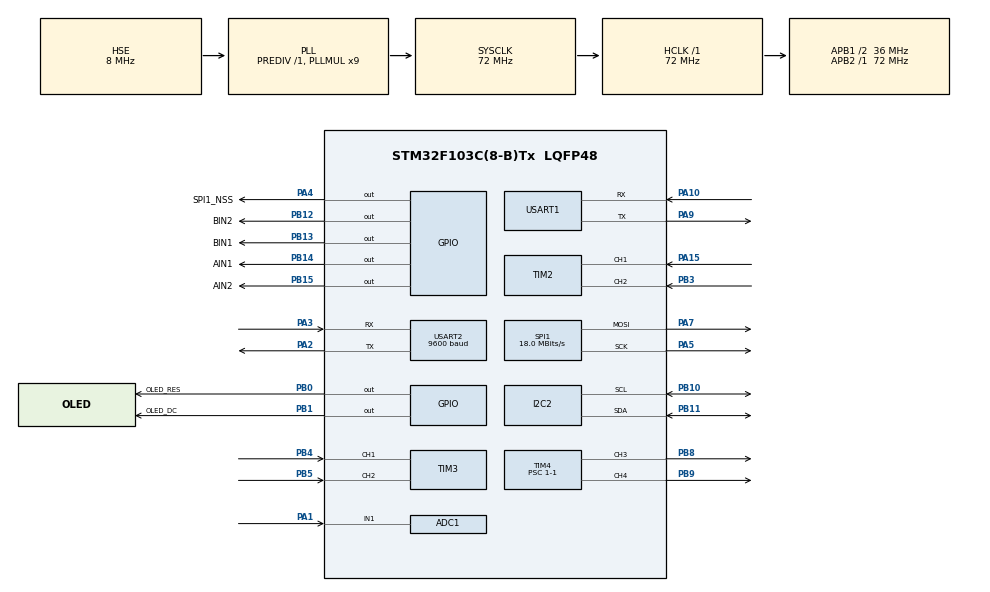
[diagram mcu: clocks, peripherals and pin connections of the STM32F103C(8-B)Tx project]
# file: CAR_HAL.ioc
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ADC1.Channel-0\#ChannelRegularConversion=ADC_CHANNEL_1
ADC1.NbrOfConversion=1
ADC1.NbrOfConversionFlag=1
ADC1.Rank-0\#ChannelRegularConversion=1
ADC1.SamplingTime-0\#ChannelRegularConversion=ADC_SAMPLETIME_239CYCLES_5
ADC1.master=1
I2C2.I2C_Mode=I2C_Fast
Mcu.Family=STM32F1
Mcu.Name=STM32F103C(8-B)Tx
Mcu.Package=LQFP48
NVIC.PriorityGroup=NVIC_PRIORITYGROUP_4
NVIC.TIM1_UP_IRQn=true\:0\:0\:true\:false\:true\:false\:true\:true
NVIC.TimeBase=TIM1_UP_IRQn
NVIC.TimeBaseIP=TIM1
NVIC.USART1_IRQn=true\:5\:0\:true\:false\:true\:true\:true\:true
NVIC.USART2_IRQn=true\:5\:0\:true\:false\:true\:true\:true\:true
PA1.Signal=ADCx_IN1
PA10.Mode=Asynchronous
PA10.Signal=USART1_RX
PA13.Mode=Serial_Wire
PA13.Signal=SYS_JTMS-SWDIO
PA14.Mode=Serial_Wire
PA14.Signal=SYS_JTCK-SWCLK
PA15.Signal=S_TIM2_CH1_ETR
PA2.Mode=Asynchronous
PA2.Signal=USART2_TX
PA3.Mode=Asynchronous
PA3.Signal=USART2_RX
PA4.GPIO_Label=SPI1_NSS
PA4.GPIO_Speed=GPIO_SPEED_FREQ_HIGH
PA4.PinState=GPIO_PIN_SET
PA4.Signal=GPIO_Output
PA5.Mode=TX_Only_Simplex_Unidirect_Master
PA5.Signal=SPI1_SCK
PA7.Mode=TX_Only_Simplex_Unidirect_Master
PA7.Signal=SPI1_MOSI
PA9.Mode=Asynchronous
PA9.Signal=USART1_TX
PB0.GPIO_Label=OLED_RES
PB0.GPIO_Speed=GPIO_SPEED_FREQ_HIGH
PB0.PinState=GPIO_PIN_SET
PB0.Signal=GPIO_Output
PB1.GPIO_Label=OLED_DC
PB1.GPIO_Speed=GPIO_SPEED_FREQ_HIGH
PB1.PinState=GPIO_PIN_SET
PB1.Signal=GPIO_Output
PB10.Mode=I2C
PB10.Signal=I2C2_SCL
PB11.Mode=I2C
PB11.Signal=I2C2_SDA
PB12.GPIO_Label=BIN2
PB12.GPIO_Speed=GPIO_SPEED_FREQ_HIGH
PB12.PinState=GPIO_PIN_SET
PB12.Signal=GPIO_Output
PB13.GPIO_Label=BIN1
PB13.GPIO_Speed=GPIO_SPEED_FREQ_HIGH
PB13.PinState=GPIO_PIN_SET
PB13.Signal=GPIO_Output
PB14.GPIO_Label=AIN1
PB14.GPIO_Speed=GPIO_SPEED_FREQ_HIGH
PB14.PinState=GPIO_PIN_SET
PB14.Signal=GPIO_Output
PB15.GPIO_Label=AIN2
PB15.GPIO_Speed=GPIO_SPEED_FREQ_HIGH
PB15.PinState=GPIO_PIN_SET
PB15.Signal=GPIO_Output
PB3.Signal=S_TIM2_CH2
PB4.Signal=S_TIM3_CH1
PB5.Signal=S_TIM3_CH2
PB8.Signal=S_TIM4_CH3
PB9.Signal=S_TIM4_CH4
PC14-OSC32_IN.Mode=LSE-External-Oscillator
PC14-OSC32_IN.Signal=RCC_OSC32_IN
PC15-OSC32_OUT.Mode=LSE-External-Oscillator
PC15-OSC32_OUT.Signal=RCC_OSC32_OUT
PD0-OSC_IN.Mode=HSE-External-Oscillator
PD0-OSC_IN.Signal=RCC_OSC_IN
PD1-OSC_OUT.Mode=HSE-External-Oscillator
PD1-OSC_OUT.Signal=RCC_OSC_OUT
ProjectManager.HeapSize=0x200
ProjectManager.StackSize=0x400
ProjectManager.TargetToolchain=MDK-ARM V5.32
RCC.ADCPresc=RCC_ADCPCLK2_DIV6
RCC.AHBFreq_Value=72000000
RCC.APB1CLKDivider=RCC_HCLK_DIV2
RCC.APB1Freq_Value=36000000
RCC.APB1TimFreq_Value=72000000
RCC.APB2Freq_Value=72000000
RCC.APB2TimFreq_Value=72000000
RCC.HCLKFreq_Value=72000000
RCC.PLLMUL=RCC_PLL_MUL9
RCC.PLLSourceVirtual=RCC_PLLSOURCE_HSE
RCC.SYSCLKFreq_VALUE=72000000
RCC.SYSCLKSource=RCC_SYSCLKSOURCE_PLLCLK
RCC.USBFreq_Value=72000000
SH.ADCx_IN1.0=ADC1_IN1,IN1
SH.S_TIM2_CH1_ETR.0=TIM2_CH1,Encoder_Interface
SH.S_TIM2_CH2.0=TIM2_CH2,Encoder_Interface
SH.S_TIM3_CH1.0=TIM3_CH1,Encoder_Interface
SH.S_TIM3_CH2.0=TIM3_CH2,Encoder_Interface
SH.S_TIM4_CH3.0=TIM4_CH3,PWM Generation3 CH3
SH.S_TIM4_CH4.0=TIM4_CH4,PWM Generation4 CH4
SPI1.BaudRatePrescaler=SPI_BAUDRATEPRESCALER_4
SPI1.CalculateBaudRate=18.0 MBits/s
SPI1.Direction=SPI_DIRECTION_2LINES
SPI1.Mode=SPI_MODE_MASTER
SPI1.VirtualType=VM_MASTER
TIM2.EncoderMode=TIM_ENCODERMODE_TI12
TIM3.EncoderMode=TIM_ENCODERMODE_TI12
TIM4.Channel-PWM\ Generation3\ CH3=TIM_CHANNEL_3
TIM4.Channel-PWM\ Generation4\ CH4=TIM_CHANNEL_4
TIM4.Period=7200-1
TIM4.Prescaler=1-1
USART1.VirtualMode=VM_ASYNC
USART2.BaudRate=9600
USART2.VirtualMode=VM_ASYNC
VP_SYS_VS_tim1.Mode=TIM1
VP_TIM4_VS_ClockSourceINT.Mode=Internal
board=custom

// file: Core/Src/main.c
/* USER CODE BEGIN Header */
/**
 ******************************************************************************
 * @file           : main.c
 * @brief          : Main program body
 ******************************************************************************
 * @attention
 *
 * Copyright (c) 2024 STMicroelectronics.
 * All rights reserved.
 *
 * This software is licensed under terms that can be found in the LICENSE file
 * in the root directory of this software component.
 * If no LICENSE file comes with this software, it is provided AS-IS.
 *
 ******************************************************************************
 */
/* USER CODE END Header */
#include "main.h"
#include "adc.h"
#include "i2c.h"
#include "spi.h"
#include "tim.h"
#include "usart.h"
#include "gpio.h"

/* USER CODE BEGIN Includes */
#include "App_Task.h"
#include "bsp_uart.h"
#include "oled.h"
/* USER CODE END Includes */

/* USER CODE BEGIN PV */
/* 接收缓冲已收进 bsp_uart.c（HAL 回调与缓冲不再散落在 main/App）。 */
/* USER CODE END PV */

void SystemClock_Config(void);

int main(void)
{

    /* MCU Configuration--------------------------------------------------------*/

    /* Reset of all peripherals, Initializes the Flash interface and the Systick. */
    HAL_Init();

    /* Configure the system clock */
    SystemClock_Config();

    /* Initialize all configured peripherals */
    MX_GPIO_Init();
    MX_ADC1_Init();
    MX_I2C2_Init();
    MX_SPI1_Init();
    MX_TIM2_Init();
    MX_TIM3_Init();
    MX_TIM4_Init();
    MX_USART1_UART_Init();
    MX_USART2_UART_Init();
    /* USER CODE BEGIN 2 */

    /* 启动TIM2、TIM3的编码器模式 */
    HAL_TIM_Encoder_Start(&htim2, TIM_CHANNEL_1);
    HAL_TIM_Encoder_Start(&htim2, TIM_CHANNEL_2);
    HAL_TIM_Encoder_Start(&htim3, TIM_CHANNEL_1);
    HAL_TIM_Encoder_Start(&htim3, TIM_CHANNEL_2);
    /* 启动TIM4的pwm模式 */
    HAL_TIM_PWM_Start(&htim4, TIM_CHANNEL_3);
    HAL_TIM_PWM_Start(&htim4, TIM_CHANNEL_4);
    /* 启动串口2中断接收（字节回调由 App 经 Port 注册） */
    BSP_UART2_Init();

    /* MPU6050 初始化移入 App_Car_Init()（经 Port 层），在 App_Task_Init 中执行 */

    /* 初始化OLED */
    OLED_Init();
    OLED_Clear();
    /*
        第一个参数：x坐标，水平方向
        第二个参数：y坐标，垂直方向
        第三个参数：要显示的字符串
        第四个参数：字体高度（字库支持）
        第五个参数：显示模式，0反显（白底黑子），1正显（黑底白字）
     */
    OLED_ShowString(0, 0, "BAT:       V", 16, 1);
    OLED_ShowString(0, 16, "EA:", 16, 1);
    OLED_ShowString(0, 32, "EB:", 16, 1);
    OLED_ShowString(0, 48, "Angle:", 16, 1);
    OLED_Refresh();

    /* 启动FreeRTOS */
    App_Task_Init();

    /* USER CODE END 2 */

    /* Infinite loop */
    while (1)
    {

    }
}

void SystemClock_Config(void)
{
    RCC_OscInitTypeDef RCC_OscInitStruct = {0};
    RCC_ClkInitTypeDef RCC_ClkInitStruct = {0};
    RCC_PeriphCLKInitTypeDef PeriphClkInit = {0};

    /** Initializes the RCC Oscillators according to the specified parameters
     * in the RCC_OscInitTypeDef structure.
     */
    RCC_OscInitStruct.OscillatorType = RCC_OSCILLATORTYPE_HSE;
    RCC_OscInitStruct.HSEState = RCC_HSE_ON;
    RCC_OscInitStruct.HSEPredivValue = RCC_HSE_PREDIV_DIV1;
    RCC_OscInitStruct.HSIState = RCC_HSI_ON;
    RCC_OscInitStruct.PLL.PLLState = RCC_PLL_ON;
    RCC_OscInitStruct.PLL.PLLSource = RCC_PLLSOURCE_HSE;
    RCC_OscInitStruct.PLL.PLLMUL = RCC_PLL_MUL9;
    if (HAL_RCC_OscConfig(&RCC_OscInitStruct) != HAL_OK)
    {
        Error_Handler();
    }

    /** Initializes the CPU, AHB and APB buses clocks
     */
    RCC_ClkInitStruct.ClockType = RCC_CLOCKTYPE_HCLK | RCC_CLOCKTYPE_SYSCLK | RCC_CLOCKTYPE_PCLK1 | RCC_CLOCKTYPE_PCLK2;
    RCC_ClkInitStruct.SYSCLKSource = RCC_SYSCLKSOURCE_PLLCLK;
    RCC_ClkInitStruct.AHBCLKDivider = RCC_SYSCLK_DIV1;
    RCC_ClkInitStruct.APB1CLKDivider = RCC_HCLK_DIV2;
    RCC_ClkInitStruct.APB2CLKDivider = RCC_HCLK_DIV1;

    if (HAL_RCC_ClockConfig(&RCC_ClkInitStruct, FLASH_LATENCY_2) != HAL_OK)
    {
        Error_Handler();
    }
    PeriphClkInit.PeriphClockSelection = RCC_PERIPHCLK_ADC;
    PeriphClkInit.AdcClockSelection = RCC_ADCPCLK2_DIV6;
    if (HAL_RCCEx_PeriphCLKConfig(&PeriphClkInit) != HAL_OK)
    {
        Error_Handler();
    }
}

void HAL_TIM_PeriodElapsedCallback(TIM_HandleTypeDef *htim)
{
    if (htim->Instance == TIM1)
    {
        HAL_IncTick();
    }
}

void Error_Handler(void)
{
    __disable_irq();
    while (1)
    {
    }
}
